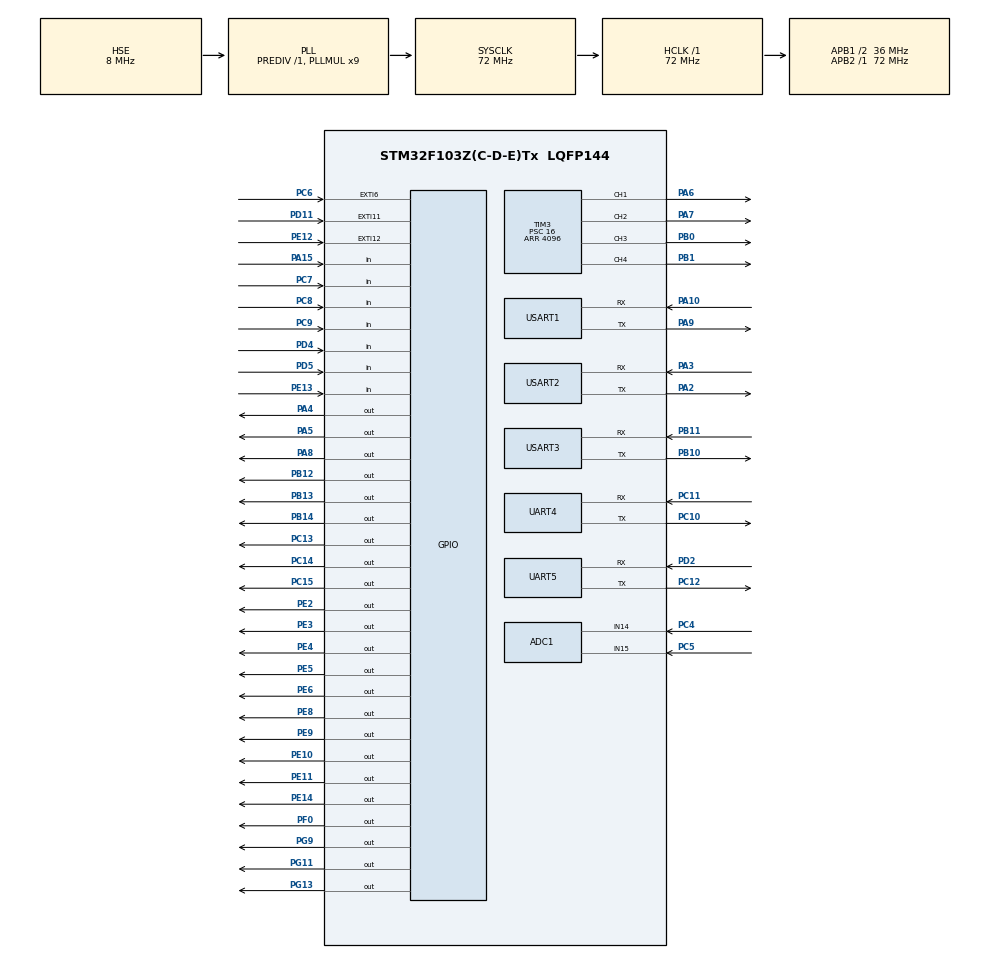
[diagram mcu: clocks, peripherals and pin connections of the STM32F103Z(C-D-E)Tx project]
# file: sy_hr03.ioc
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ADC1.Channel-72\#ChannelRegularConversion=ADC_CHANNEL_14
ADC1.NbrOfConversionFlag=1
ADC1.Rank-72\#ChannelRegularConversion=1
ADC1.SamplingTime-72\#ChannelRegularConversion=ADC_SAMPLETIME_1CYCLE_5
ADC1.master=1
Mcu.Family=STM32F1
Mcu.Name=STM32F103Z(C-D-E)Tx
Mcu.Package=LQFP144
NVIC.EXTI15_10_IRQn=true\:0\:0\:false\:false\:true
NVIC.EXTI9_5_IRQn=true\:0\:0\:false\:false\:true
NVIC.PriorityGroup=NVIC_PRIORITYGROUP_4
NVIC.UART4_IRQn=true\:0\:0\:false\:false\:true
NVIC.UART5_IRQn=true\:0\:0\:false\:false\:true
NVIC.USART1_IRQn=true\:0\:0\:false\:false\:true
NVIC.USART2_IRQn=true\:0\:0\:false\:false\:true
NVIC.USART3_IRQn=true\:0\:0\:false\:false\:true
OSC_IN.Mode=HSE-External-Oscillator
OSC_IN.Signal=RCC_OSC_IN
OSC_OUT.Mode=HSE-External-Oscillator
OSC_OUT.Signal=RCC_OSC_OUT
PA10.Mode=Asynchronous
PA10.Signal=USART1_RX
PA13.Mode=Serial_Wire
PA13.Signal=SYS_JTMS-SWDIO
PA14.Mode=Serial_Wire
PA14.Signal=SYS_JTCK-SWCLK
PA15.Signal=GPIO_Input
PA2.Mode=Asynchronous
PA2.Signal=USART2_TX
PA3.Mode=Asynchronous
PA3.Signal=USART2_RX
PA4.Signal=GPIO_Output
PA5.Signal=GPIO_Output
PA6.Signal=S_TIM3_CH1
PA7.Signal=S_TIM3_CH2
PA8.Signal=GPIO_Output
PA9.Mode=Asynchronous
PA9.Signal=USART1_TX
PB0.Signal=S_TIM3_CH3
PB1.Signal=S_TIM3_CH4
PB10.Mode=Asynchronous
PB10.Signal=USART3_TX
PB11.Mode=Asynchronous
PB11.Signal=USART3_RX
PB12.Signal=GPIO_Output
PB13.Signal=GPIO_Output
PB14.Signal=GPIO_Output
PC10.Mode=Asynchronous
PC10.Signal=UART4_TX
PC11.Mode=Asynchronous
PC11.Signal=UART4_RX
PC12.Mode=Asynchronous
PC12.Signal=UART5_TX
PC13-TAMPER-RTC.Signal=GPIO_Output
PC14-OSC32_IN.Signal=GPIO_Output
PC15-OSC32_OUT.Signal=GPIO_Output
PC4.Signal=ADCx_IN14
PC5.Signal=ADCx_IN15
PC6.GPIO_ModeDefaultEXTI=GPIO_MODE_IT_FALLING
PC6.Signal=GPXTI6
PC7.Signal=GPIO_Input
PC8.Signal=GPIO_Input
PC9.Signal=GPIO_Input
PD11.GPIO_ModeDefaultEXTI=GPIO_MODE_IT_FALLING
PD11.Signal=GPXTI11
PD2.Mode=Asynchronous
PD2.Signal=UART5_RX
PD4.GPIO_PuPd=GPIO_PULLUP
PD4.Signal=GPIO_Input
PD5.GPIO_PuPd=GPIO_PULLUP
PD5.Signal=GPIO_Input
PE10.Signal=GPIO_Output
PE11.Signal=GPIO_Output
PE12.GPIO_ModeDefaultEXTI=GPIO_MODE_IT_FALLING
PE12.Signal=GPXTI12
PE13.GPIO_PuPd=GPIO_PULLUP
PE13.Signal=GPIO_Input
PE14.Signal=GPIO_Output
PE2.GPIO_ModeDefaultOutputPP=GPIO_MODE_OUTPUT_OD
PE2.GPIO_Speed=GPIO_SPEED_FREQ_MEDIUM
PE2.Signal=GPIO_Output
PE3.GPIO_ModeDefaultOutputPP=GPIO_MODE_OUTPUT_OD
PE3.GPIO_Speed=GPIO_SPEED_FREQ_MEDIUM
PE3.Signal=GPIO_Output
PE4.Signal=GPIO_Output
PE5.Signal=GPIO_Output
PE6.Signal=GPIO_Output
PE8.GPIO_ModeDefaultOutputPP=GPIO_MODE_OUTPUT_OD
PE8.GPIO_Speed=GPIO_SPEED_FREQ_MEDIUM
PE8.Signal=GPIO_Output
PE9.GPIO_ModeDefaultOutputPP=GPIO_MODE_OUTPUT_OD
PE9.GPIO_Speed=GPIO_SPEED_FREQ_MEDIUM
PE9.Signal=GPIO_Output
PF0.Signal=GPIO_Output
PG11.Signal=GPIO_Output
PG13.Signal=GPIO_Output
PG9.Signal=GPIO_Output
ProjectManager.HeapSize=0x200
ProjectManager.StackSize=0x400
ProjectManager.TargetToolchain=MDK-ARM V5
RCC.ADCPresc=RCC_ADCPCLK2_DIV6
RCC.AHBFreq_Value=72000000
RCC.APB1CLKDivider=RCC_HCLK_DIV2
RCC.APB1Freq_Value=36000000
RCC.APB1TimFreq_Value=72000000
RCC.APB2Freq_Value=72000000
RCC.APB2TimFreq_Value=72000000
RCC.HCLKFreq_Value=72000000
RCC.HSIState=RCC_HSI_ON
RCC.PLLMUL=RCC_PLL_MUL9
RCC.PLLSourceVirtual=RCC_PLLSOURCE_HSE
RCC.SYSCLKFreq_VALUE=72000000
RCC.SYSCLKSource=RCC_SYSCLKSOURCE_PLLCLK
RCC.USBFreq_Value=48000000
RCC.USBPrescaler=RCC_USBCLKSOURCE_PLL_DIV1_5
SH.ADCx_IN14.0=ADC1_IN14,IN14
SH.ADCx_IN15.0=ADC1_IN15,IN15
SH.S_TIM3_CH1.0=TIM3_CH1,PWM Generation1 CH1
SH.S_TIM3_CH2.0=TIM3_CH2,PWM Generation2 CH2
SH.S_TIM3_CH3.0=TIM3_CH3,PWM Generation3 CH3
SH.S_TIM3_CH4.0=TIM3_CH4,PWM Generation4 CH4
TIM3.Channel-PWM\ Generation2\ CH2=TIM_CHANNEL_2
TIM3.Channel-PWM\ Generation3\ CH3=TIM_CHANNEL_3
TIM3.Channel-PWM\ Generation4\ CH4=TIM_CHANNEL_4
TIM3.Period=4096
TIM3.Prescaler=16
TIM3.Pulse-PWM\ Generation1\ CH1=16
TIM3.Pulse-PWM\ Generation2\ CH2=16
TIM3.Pulse-PWM\ Generation3\ CH3=16
TIM3.Pulse-PWM\ Generation4\ CH4=16
board=sy_hr03

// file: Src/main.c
/**
  ******************************************************************************
  * File Name          : main.c
  * Description        : Main program body
  ******************************************************************************
  *
  * COPYRIGHT(c) 2018 STMicroelectronics
  *
  * Redistribution and use in source and binary forms, with or without modification,
  * are permitted provided that the following conditions are met:
  *   1. Redistributions of source code must retain the above copyright notice,
  *      this list of conditions and the following disclaimer.
  *   2. Redistributions in binary form must reproduce the above copyright notice,
  *      this list of conditions and the following disclaimer in the documentation
  *      and/or other materials provided with the distribution.
  *   3. Neither the name of STMicroelectronics nor the names of its contributors
  *      may be used to endorse or promote products derived from this software
  *      without specific prior written permission.
  *
  * THIS SOFTWARE IS PROVIDED BY THE COPYRIGHT HOLDERS AND CONTRIBUTORS "AS IS"
  * AND ANY EXPRESS OR IMPLIED WARRANTIES, INCLUDING, BUT NOT LIMITED TO, THE
  * IMPLIED WARRANTIES OF MERCHANTABILITY AND FITNESS FOR A PARTICULAR PURPOSE ARE
  * DISCLAIMED. IN NO EVENT SHALL THE COPYRIGHT HOLDER OR CONTRIBUTORS BE LIABLE
  * FOR ANY DIRECT, INDIRECT, INCIDENTAL, SPECIAL, EXEMPLARY, OR CONSEQUENTIAL
  * DAMAGES (INCLUDING, BUT NOT LIMITED TO, PROCUREMENT OF SUBSTITUTE GOODS OR
  * SERVICES; LOSS OF USE, DATA, OR PROFITS; OR BUSINESS INTERRUPTION) HOWEVER
  * CAUSED AND ON ANY THEORY OF LIABILITY, WHETHER IN CONTRACT, STRICT LIABILITY,
  * OR TORT (INCLUDING NEGLIGENCE OR OTHERWISE) ARISING IN ANY WAY OUT OF THE USE
  * OF THIS SOFTWARE, EVEN IF ADVISED OF THE POSSIBILITY OF SUCH DAMAGE.
  *
  ******************************************************************************
  */
#include "stm32f1xx_hal.h"

/* USER CODE BEGIN Includes */
#include "cmsis_os.h" // ARM::CMSIS:RTOS:Keil RTX
#include <stdio.h>
#include <string.h>
#include <stdlib.h>
#include "thread_of_development.h"
#include "thread_of_LCM_uart.h"
#include "thread_of_sensor_glove.h"
#include "thread_of_android_uart.h"
/* USER CODE END Includes */

ADC_HandleTypeDef hadc1;

TIM_HandleTypeDef htim3;

UART_HandleTypeDef huart4;
UART_HandleTypeDef huart5;
UART_HandleTypeDef huart1;
UART_HandleTypeDef huart2;
UART_HandleTypeDef huart3;

/* USER CODE BEGIN PV */
/* Private variables ---------------------------------------------------------*/

/* USER CODE END PV */

void SystemClock_Config(void);
static void MX_GPIO_Init(void);
static void MX_USART2_UART_Init(void);
static void MX_UART4_Init(void);
static void MX_UART5_Init(void);
static void MX_USART1_UART_Init(void);
static void MX_USART3_UART_Init(void);
static void MX_TIM3_Init(void);
static void MX_ADC1_Init(void);

void HAL_TIM_MspPostInit(TIM_HandleTypeDef *htim);

/* USER CODE BEGIN PFP */
/* Private function prototypes -----------------------------------------------*/

/* USER CODE END PFP */

/* USER CODE BEGIN 0 */
extern uint32_t os_time;
uint32_t HAL_GetTick(void) {
	// Add HAL_GetTick function for STM32Cube HAL

return os_time;
}
/* USER CODE END 0 */

int main(void)
{

  /* USER CODE BEGIN 1 */
	osKernelInitialize ();               // Initialize RTOS Kernel for setup
	init_thread_of_development();
	init_thread_of_lcm_uart();
	init_thread_of_sensor_glove_rx();
	init_thread_of_sensor_glove_tx();
	init_tid_thread_of_android_rx();
	init_tid_thread_of_android_tx();
  /* USER CODE END 1 */

  /* MCU Configuration----------------------------------------------------------*/

  /* Reset of all peripherals, Initializes the Flash interface and the Systick. */
  HAL_Init();

  /* Configure the system clock */
  SystemClock_Config();

  /* Initialize all configured peripherals */
  MX_GPIO_Init();
  MX_USART2_UART_Init();
  MX_UART4_Init();
  MX_UART5_Init();
  MX_USART1_UART_Init();
  MX_USART3_UART_Init();
  MX_TIM3_Init();
  MX_ADC1_Init();

  /* USER CODE BEGIN 2 */
	osKernelStart ();                    // Begin thread switching
	HAL_TIM_PWM_Start(&htim3,TIM_CHANNEL_1);
	HAL_TIM_PWM_Start(&htim3,TIM_CHANNEL_2);
	HAL_TIM_PWM_Start(&htim3,TIM_CHANNEL_3);
	HAL_TIM_PWM_Start(&htim3,TIM_CHANNEL_4);
  /* USER CODE END 2 */

  /* Infinite loop */
  /* USER CODE BEGIN WHILE */
	HAL_GPIO_WritePin(GPIOE,GPIO_PIN_13,GPIO_PIN_SET);
  while (1)
  {
  /* USER CODE END WHILE */

  /* USER CODE BEGIN 3 */
		HAL_GPIO_TogglePin(GPIOG,GPIO_PIN_9);
		osDelay(500);

  }
  /* USER CODE END 3 */

}

/** System Clock Configuration
*/
void SystemClock_Config(void)
{

  RCC_OscInitTypeDef RCC_OscInitStruct;
  RCC_ClkInitTypeDef RCC_ClkInitStruct;
  RCC_PeriphCLKInitTypeDef PeriphClkInit;

  RCC_OscInitStruct.OscillatorType = RCC_OSCILLATORTYPE_HSE;
  RCC_OscInitStruct.HSEState = RCC_HSE_ON;
  RCC_OscInitStruct.HSEPredivValue = RCC_HSE_PREDIV_DIV1;
  RCC_OscInitStruct.PLL.PLLState = RCC_PLL_ON;
  RCC_OscInitStruct.PLL.PLLSource = RCC_PLLSOURCE_HSE;
  RCC_OscInitStruct.PLL.PLLMUL = RCC_PLL_MUL9;
  HAL_RCC_OscConfig(&RCC_OscInitStruct);

  RCC_ClkInitStruct.ClockType = RCC_CLOCKTYPE_HCLK|RCC_CLOCKTYPE_SYSCLK
                              |RCC_CLOCKTYPE_PCLK1|RCC_CLOCKTYPE_PCLK2;
  RCC_ClkInitStruct.SYSCLKSource = RCC_SYSCLKSOURCE_PLLCLK;
  RCC_ClkInitStruct.AHBCLKDivider = RCC_SYSCLK_DIV1;
  RCC_ClkInitStruct.APB1CLKDivider = RCC_HCLK_DIV2;
  RCC_ClkInitStruct.APB2CLKDivider = RCC_HCLK_DIV1;
  HAL_RCC_ClockConfig(&RCC_ClkInitStruct, FLASH_LATENCY_2);

  PeriphClkInit.PeriphClockSelection = RCC_PERIPHCLK_ADC;
  PeriphClkInit.AdcClockSelection = RCC_ADCPCLK2_DIV6;
  HAL_RCCEx_PeriphCLKConfig(&PeriphClkInit);

  HAL_SYSTICK_Config(HAL_RCC_GetHCLKFreq()/1000);

  HAL_SYSTICK_CLKSourceConfig(SYSTICK_CLKSOURCE_HCLK);

  /* SysTick_IRQn interrupt configuration */
  HAL_NVIC_SetPriority(SysTick_IRQn, 0, 0);
}

/* ADC1 init function */
void MX_ADC1_Init(void)
{

  ADC_ChannelConfTypeDef sConfig;

    /**Common config
    */
  hadc1.Instance = ADC1;
  hadc1.Init.ScanConvMode = ADC_SCAN_DISABLE;
  hadc1.Init.ContinuousConvMode = DISABLE;
  hadc1.Init.DiscontinuousConvMode = DISABLE;
  hadc1.Init.ExternalTrigConv = ADC_SOFTWARE_START;
  hadc1.Init.DataAlign = ADC_DATAALIGN_RIGHT;
  hadc1.Init.NbrOfConversion = 1;
  HAL_ADC_Init(&hadc1);

    /**Configure Regular Channel
    */
  sConfig.Channel = ADC_CHANNEL_14;
  sConfig.Rank = 1;
  sConfig.SamplingTime = ADC_SAMPLETIME_1CYCLE_5;
  HAL_ADC_ConfigChannel(&hadc1, &sConfig);

}

/* TIM3 init function */
void MX_TIM3_Init(void)
{

  TIM_MasterConfigTypeDef sMasterConfig;
  TIM_OC_InitTypeDef sConfigOC;

  htim3.Instance = TIM3;
  htim3.Init.Prescaler = 16;
  htim3.Init.CounterMode = TIM_COUNTERMODE_UP;
  htim3.Init.Period = 4096;
  htim3.Init.ClockDivision = TIM_CLOCKDIVISION_DIV1;
  HAL_TIM_PWM_Init(&htim3);

  sMasterConfig.MasterOutputTrigger = TIM_TRGO_RESET;
  sMasterConfig.MasterSlaveMode = TIM_MASTERSLAVEMODE_DISABLE;
  HAL_TIMEx_MasterConfigSynchronization(&htim3, &sMasterConfig);

  sConfigOC.OCMode = TIM_OCMODE_PWM1;
  sConfigOC.Pulse = 16;
  sConfigOC.OCPolarity = TIM_OCPOLARITY_HIGH;
  sConfigOC.OCFastMode = TIM_OCFAST_DISABLE;
  HAL_TIM_PWM_ConfigChannel(&htim3, &sConfigOC, TIM_CHANNEL_1);

  HAL_TIM_PWM_ConfigChannel(&htim3, &sConfigOC, TIM_CHANNEL_2);

  HAL_TIM_PWM_ConfigChannel(&htim3, &sConfigOC, TIM_CHANNEL_3);

  HAL_TIM_PWM_ConfigChannel(&htim3, &sConfigOC, TIM_CHANNEL_4);

  HAL_TIM_MspPostInit(&htim3);

}

/* UART4 init function */
void MX_UART4_Init(void)
{

  huart4.Instance = UART4;
  huart4.Init.BaudRate = 115200;
  huart4.Init.WordLength = UART_WORDLENGTH_8B;
  huart4.Init.StopBits = UART_STOPBITS_1;
  huart4.Init.Parity = UART_PARITY_NONE;
  huart4.Init.Mode = UART_MODE_TX_RX;
  huart4.Init.HwFlowCtl = UART_HWCONTROL_NONE;
  huart4.Init.OverSampling = UART_OVERSAMPLING_16;
  HAL_UART_Init(&huart4);

}

/* UART5 init function */
void MX_UART5_Init(void)
{

  huart5.Instance = UART5;
  huart5.Init.BaudRate = 115200;
  huart5.Init.WordLength = UART_WORDLENGTH_8B;
  huart5.Init.StopBits = UART_STOPBITS_1;
  huart5.Init.Parity = UART_PARITY_NONE;
  huart5.Init.Mode = UART_MODE_TX_RX;
  huart5.Init.HwFlowCtl = UART_HWCONTROL_NONE;
  huart5.Init.OverSampling = UART_OVERSAMPLING_16;
  HAL_UART_Init(&huart5);

}

/* USART1 init function */
void MX_USART1_UART_Init(void)
{

  huart1.Instance = USART1;
  huart1.Init.BaudRate = 115200;
  huart1.Init.WordLength = UART_WORDLENGTH_8B;
  huart1.Init.StopBits = UART_STOPBITS_1;
  huart1.Init.Parity = UART_PARITY_NONE;
  huart1.Init.Mode = UART_MODE_TX_RX;
  huart1.Init.HwFlowCtl = UART_HWCONTROL_NONE;
  huart1.Init.OverSampling = UART_OVERSAMPLING_16;
  HAL_UART_Init(&huart1);

}

/* USART2 init function */
void MX_USART2_UART_Init(void)
{

  huart2.Instance = USART2;
  huart2.Init.BaudRate = 115200;
  huart2.Init.WordLength = UART_WORDLENGTH_8B;
  huart2.Init.StopBits = UART_STOPBITS_1;
  huart2.Init.Parity = UART_PARITY_NONE;
  huart2.Init.Mode = UART_MODE_TX_RX;
  huart2.Init.HwFlowCtl = UART_HWCONTROL_NONE;
  huart2.Init.OverSampling = UART_OVERSAMPLING_16;
  HAL_UART_Init(&huart2);

}

/* USART3 init function */
void MX_USART3_UART_Init(void)
{

  huart3.Instance = USART3;
  huart3.Init.BaudRate = 115200;
  huart3.Init.WordLength = UART_WORDLENGTH_8B;
  huart3.Init.StopBits = UART_STOPBITS_1;
  huart3.Init.Parity = UART_PARITY_NONE;
  huart3.Init.Mode = UART_MODE_TX_RX;
  huart3.Init.HwFlowCtl = UART_HWCONTROL_NONE;
  huart3.Init.OverSampling = UART_OVERSAMPLING_16;
  HAL_UART_Init(&huart3);

}

/** Configure pins as
        * Analog
        * Input
        * Output
        * EVENT_OUT
        * EXTI
*/
void MX_GPIO_Init(void)
{

  GPIO_InitTypeDef GPIO_InitStruct;

  /* GPIO Ports Clock Enable */
  __HAL_RCC_GPIOE_CLK_ENABLE();
  __HAL_RCC_GPIOC_CLK_ENABLE();
  __HAL_RCC_GPIOF_CLK_ENABLE();
  __HAL_RCC_GPIOA_CLK_ENABLE();
  __HAL_RCC_GPIOB_CLK_ENABLE();
  __HAL_RCC_GPIOD_CLK_ENABLE();
  __HAL_RCC_GPIOG_CLK_ENABLE();

  /*Configure GPIO pin Output Level */
  HAL_GPIO_WritePin(GPIOE, GPIO_PIN_2|GPIO_PIN_3|GPIO_PIN_4|GPIO_PIN_5
                          |GPIO_PIN_6|GPIO_PIN_8|GPIO_PIN_9|GPIO_PIN_10
                          |GPIO_PIN_11|GPIO_PIN_14, GPIO_PIN_RESET);

  /*Configure GPIO pin Output Level */
  HAL_GPIO_WritePin(GPIOC, GPIO_PIN_13|GPIO_PIN_14|GPIO_PIN_15, GPIO_PIN_RESET);

  /*Configure GPIO pin Output Level */
  HAL_GPIO_WritePin(GPIOF, GPIO_PIN_0, GPIO_PIN_RESET);

  /*Configure GPIO pin Output Level */
  HAL_GPIO_WritePin(GPIOA, GPIO_PIN_4|GPIO_PIN_5|GPIO_PIN_8, GPIO_PIN_RESET);

  /*Configure GPIO pin Output Level */
  HAL_GPIO_WritePin(GPIOB, GPIO_PIN_12|GPIO_PIN_13|GPIO_PIN_14, GPIO_PIN_RESET);

  /*Configure GPIO pin Output Level */
  HAL_GPIO_WritePin(GPIOG, GPIO_PIN_9|GPIO_PIN_11|GPIO_PIN_13, GPIO_PIN_RESET);

  /*Configure GPIO pins : PE2 PE3 PE8 PE9 */
  GPIO_InitStruct.Pin = GPIO_PIN_2|GPIO_PIN_3|GPIO_PIN_8|GPIO_PIN_9;
  GPIO_InitStruct.Mode = GPIO_MODE_OUTPUT_OD;
  GPIO_InitStruct.Speed = GPIO_SPEED_FREQ_MEDIUM;
  HAL_GPIO_Init(GPIOE, &GPIO_InitStruct);

  /*Configure GPIO pins : PE4 PE5 PE6 PE10
                           PE11 PE14 */
  GPIO_InitStruct.Pin = GPIO_PIN_4|GPIO_PIN_5|GPIO_PIN_6|GPIO_PIN_10
                          |GPIO_PIN_11|GPIO_PIN_14;
  GPIO_InitStruct.Mode = GPIO_MODE_OUTPUT_PP;
  GPIO_InitStruct.Speed = GPIO_SPEED_FREQ_LOW;
  HAL_GPIO_Init(GPIOE, &GPIO_InitStruct);

  /*Configure GPIO pins : PC13 PC14 PC15 */
  GPIO_InitStruct.Pin = GPIO_PIN_13|GPIO_PIN_14|GPIO_PIN_15;
  GPIO_InitStruct.Mode = GPIO_MODE_OUTPUT_PP;
  GPIO_InitStruct.Speed = GPIO_SPEED_FREQ_LOW;
  HAL_GPIO_Init(GPIOC, &GPIO_InitStruct);

  /*Configure GPIO pin : PF0 */
  GPIO_InitStruct.Pin = GPIO_PIN_0;
  GPIO_InitStruct.Mode = GPIO_MODE_OUTPUT_PP;
  GPIO_InitStruct.Speed = GPIO_SPEED_FREQ_LOW;
  HAL_GPIO_Init(GPIOF, &GPIO_InitStruct);

  /*Configure GPIO pins : PA4 PA5 PA8 */
  GPIO_InitStruct.Pin = GPIO_PIN_4|GPIO_PIN_5|GPIO_PIN_8;
  GPIO_InitStruct.Mode = GPIO_MODE_OUTPUT_PP;
  GPIO_InitStruct.Speed = GPIO_SPEED_FREQ_LOW;
  HAL_GPIO_Init(GPIOA, &GPIO_InitStruct);

  /*Configure GPIO pin : PE12 */
  GPIO_InitStruct.Pin = GPIO_PIN_12;
  GPIO_InitStruct.Mode = GPIO_MODE_IT_FALLING;
  GPIO_InitStruct.Pull = GPIO_NOPULL;
  HAL_GPIO_Init(GPIOE, &GPIO_InitStruct);

  /*Configure GPIO pin : PE13 */
  GPIO_InitStruct.Pin = GPIO_PIN_13;
  GPIO_InitStruct.Mode = GPIO_MODE_INPUT;
  GPIO_InitStruct.Pull = GPIO_PULLUP;
  HAL_GPIO_Init(GPIOE, &GPIO_InitStruct);

  /*Configure GPIO pins : PB12 PB13 PB14 */
  GPIO_InitStruct.Pin = GPIO_PIN_12|GPIO_PIN_13|GPIO_PIN_14;
  GPIO_InitStruct.Mode = GPIO_MODE_OUTPUT_PP;
  GPIO_InitStruct.Speed = GPIO_SPEED_FREQ_LOW;
  HAL_GPIO_Init(GPIOB, &GPIO_InitStruct);

  /*Configure GPIO pin : PD11 */
  GPIO_InitStruct.Pin = GPIO_PIN_11;
  GPIO_InitStruct.Mode = GPIO_MODE_IT_FALLING;
  GPIO_InitStruct.Pull = GPIO_NOPULL;
  HAL_GPIO_Init(GPIOD, &GPIO_InitStruct);

  /*Configure GPIO pin : PC6 */
  GPIO_InitStruct.Pin = GPIO_PIN_6;
  GPIO_InitStruct.Mode = GPIO_MODE_IT_FALLING;
  GPIO_InitStruct.Pull = GPIO_NOPULL;
  HAL_GPIO_Init(GPIOC, &GPIO_InitStruct);

  /*Configure GPIO pins : PC7 PC8 PC9 */
  GPIO_InitStruct.Pin = GPIO_PIN_7|GPIO_PIN_8|GPIO_PIN_9;
  GPIO_InitStruct.Mode = GPIO_MODE_INPUT;
  GPIO_InitStruct.Pull = GPIO_NOPULL;
  HAL_GPIO_Init(GPIOC, &GPIO_InitStruct);

  /*Configure GPIO pin : PA15 */
  GPIO_InitStruct.Pin = GPIO_PIN_15;
  GPIO_InitStruct.Mode = GPIO_MODE_INPUT;
  GPIO_InitStruct.Pull = GPIO_NOPULL;
  HAL_GPIO_Init(GPIOA, &GPIO_InitStruct);

  /*Configure GPIO pins : PD4 PD5 */
  GPIO_InitStruct.Pin = GPIO_PIN_4|GPIO_PIN_5;
  GPIO_InitStruct.Mode = GPIO_MODE_INPUT;
  GPIO_InitStruct.Pull = GPIO_PULLUP;
  HAL_GPIO_Init(GPIOD, &GPIO_InitStruct);

  /*Configure GPIO pins : PG9 PG11 PG13 */
  GPIO_InitStruct.Pin = GPIO_PIN_9|GPIO_PIN_11|GPIO_PIN_13;
  GPIO_InitStruct.Mode = GPIO_MODE_OUTPUT_PP;
  GPIO_InitStruct.Speed = GPIO_SPEED_FREQ_LOW;
  HAL_GPIO_Init(GPIOG, &GPIO_InitStruct);

  /* EXTI interrupt init*/
  HAL_NVIC_SetPriority(EXTI9_5_IRQn, 0, 0);
  HAL_NVIC_EnableIRQ(EXTI9_5_IRQn);

  HAL_NVIC_SetPriority(EXTI15_10_IRQn, 0, 0);
  HAL_NVIC_EnableIRQ(EXTI15_10_IRQn);

}

/************************ (C) COPYRIGHT STMicroelectronics *****END OF FILE****/
